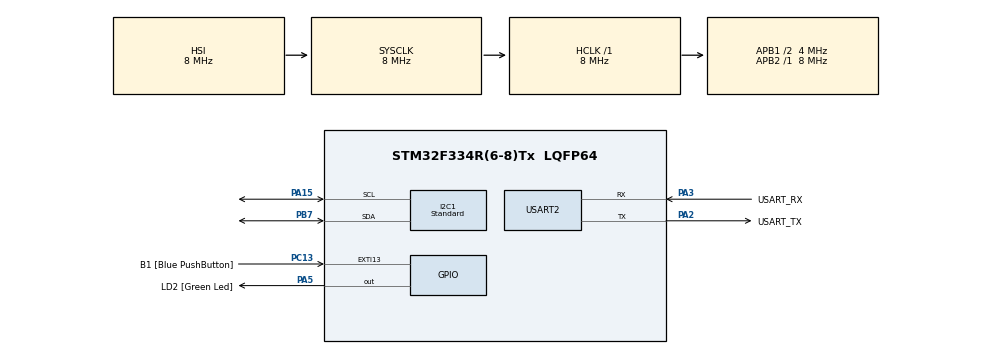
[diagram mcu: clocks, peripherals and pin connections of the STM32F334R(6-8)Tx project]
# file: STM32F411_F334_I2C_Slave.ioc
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I2C1.I2C_Speed_Mode=I2C_Standard
I2C1.NoStretchMode=I2C_NOSTRETCH_DISABLE
I2C1.OwnAddress=15
I2C1.Speed=10
I2C1.Timing=0x200009FE
Mcu.Family=STM32F3
Mcu.Name=STM32F334R(6-8)Tx
Mcu.Package=LQFP64
NVIC.PriorityGroup=NVIC_PRIORITYGROUP_0
PA13.GPIO_Label=TMS
PA13.Mode=Serial_Wire
PA13.Signal=SYS_JTMS-SWDIO
PA14.GPIO_Label=TCK
PA14.Mode=Serial_Wire
PA14.Signal=SYS_JTCK-SWCLK
PA15.Mode=I2C
PA15.Signal=I2C1_SCL
PA2.GPIO_Label=USART_TX
PA2.Mode=Asynchronous
PA2.Signal=USART2_TX
PA3.GPIO_Label=USART_RX
PA3.Mode=Asynchronous
PA3.Signal=USART2_RX
PA5.GPIO_Label=LD2 [Green Led]
PA5.Signal=GPIO_Output
PB3.GPIO_Label=SWO
PB3.Signal=SYS_JTDO-TRACESWO
PB7.Mode=I2C
PB7.Signal=I2C1_SDA
PC13.GPIO_Label=B1 [Blue PushButton]
PC13.GPIO_ModeDefaultEXTI=GPIO_MODE_IT_FALLING
PC13.Signal=GPXTI13
PC14\ /\ OSC32_IN.Mode=LSE-External-Oscillator
PC14\ /\ OSC32_IN.Signal=RCC_OSC32_IN
PC15\ /\ OSC32_OUT.GPIO_Label=RCC_OSC32_OUT
PC15\ /\ OSC32_OUT.Mode=LSE-External-Oscillator
PC15\ /\ OSC32_OUT.Signal=RCC_OSC32_OUT
PF0\ /\ OSC_IN.Mode=HSE-External-Clock-Source
PF0\ /\ OSC_IN.Signal=RCC_OSC_IN
PF1\ /\ OSC_OUT.Signal=RCC_OSC_OUT
ProjectManager.HeapSize=0x200
ProjectManager.StackSize=0x400
ProjectManager.TargetToolchain=STM32CubeIDE
RCC.AHBFreq_Value=8000000
RCC.APB1CLKDivider=RCC_HCLK_DIV2
RCC.APB1Freq_Value=4000000
RCC.APB1TimFreq_Value=8000000
RCC.APB2Freq_Value=8000000
RCC.APB2TimFreq_Value=8000000
RCC.CortexFreq_Value=8000000
RCC.FLatency-AdvancedSettings=FLASH_LATENCY_0
RCC.HCLKFreq_Value=8000000
RCC.HSE_VALUE=8000000
RCC.HSI_VALUE=8000000
RCC.PLLMUL=RCC_PLL_MUL16
RCC.SYSCLKFreq_VALUE=8000000
USART2.VirtualMode-Asynchronous=VM_ASYNC
board=NUCLEO-F334R8

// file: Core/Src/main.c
/* USER CODE BEGIN Header */
/**
 ******************************************************************************
 * @file           : main.c
 * @brief          : Main program body
 ******************************************************************************
 * @attention
 *
 * <h2><center>&copy; Copyright (c) 2021 STMicroelectronics.
 * All rights reserved.</center></h2>
 *
 * This software component is licensed by ST under BSD 3-Clause license,
 * the "License"; You may not use this file except in compliance with the
 * License. You may obtain a copy of the License at:
 *                        opensource.org/licenses/BSD-3-Clause
 *
 ******************************************************************************
 */
/*
 * PB7  - SDA - 9 from the bottom
 PA15 - SCL - 9 from the up
 */

/* USER CODE END Header */
#include "main.h"

/* USER CODE BEGIN Includes */
#include <stdio.h>
/* USER CODE END Includes */

/* USER CODE BEGIN PTD */
#define I2C_ADDRESS        0x0F
char uart_buf[100];
uint8_t buffer[7];

int uart_buf_len;

/* USER CODE END PTD */

I2C_HandleTypeDef hi2c1;

UART_HandleTypeDef huart2;

void SystemClock_Config(void);
static void MX_GPIO_Init(void);
static void MX_USART2_UART_Init(void);
static void MX_I2C1_Init(void);

/* USER CODE BEGIN PFP */
void CustomError_Handler(void);
/* USER CODE END PFP */

int main(void) {

	/* MCU Configuration--------------------------------------------------------*/

	/* Reset of all peripherals, Initializes the Flash interface and the Systick. */
	HAL_Init();

	/* Configure the system clock */
	SystemClock_Config();

	/* Initialize all configured peripherals */
	MX_GPIO_Init();
	MX_USART2_UART_Init();
	MX_I2C1_Init();

	/* Infinite loop */
	/* USER CODE BEGIN WHILE */

	while (1) {

		if (HAL_I2C_Slave_Receive(&hi2c1, (uint8_t*) buffer, (uint16_t) sizeof(buffer), 1000) != HAL_OK) {
			/* Transfer error in reception process */
			uint32_t errCode = HAL_I2C_GetError(&hi2c1);

			if (errCode != HAL_I2C_ERROR_AF) {
				CustomError_Handler();
			}
		}

		uart_buf_len = sprintf((char*) uart_buf, "%s\r\n", (char*) buffer);
		HAL_UART_Transmit(&huart2, (uint8_t*) uart_buf, (uint16_t) uart_buf_len, 100);

		if (HAL_I2C_Slave_Transmit(&hi2c1, (uint8_t*) buffer, (uint16_t) sizeof(buffer), 1000) != HAL_OK) {
			uint32_t errCode = HAL_I2C_GetError(&hi2c1);

			if (errCode != HAL_I2C_ERROR_AF) {
				CustomError_Handler();
			}

		}

		/* USER CODE END WHILE */

	}
}

void SystemClock_Config(void) {
	RCC_OscInitTypeDef RCC_OscInitStruct = { 0 };
	RCC_ClkInitTypeDef RCC_ClkInitStruct = { 0 };
	RCC_PeriphCLKInitTypeDef PeriphClkInit = { 0 };

	/** Initializes the RCC Oscillators according to the specified parameters
	 * in the RCC_OscInitTypeDef structure.
	 */
	RCC_OscInitStruct.OscillatorType = RCC_OSCILLATORTYPE_HSI;
	RCC_OscInitStruct.HSIState = RCC_HSI_ON;
	RCC_OscInitStruct.HSICalibrationValue = RCC_HSICALIBRATION_DEFAULT;
	RCC_OscInitStruct.PLL.PLLState = RCC_PLL_NONE;
	if (HAL_RCC_OscConfig(&RCC_OscInitStruct) != HAL_OK) {
		Error_Handler();
	}
	/** Initializes the CPU, AHB and APB buses clocks
	 */
	RCC_ClkInitStruct.ClockType = RCC_CLOCKTYPE_HCLK | RCC_CLOCKTYPE_SYSCLK | RCC_CLOCKTYPE_PCLK1 | RCC_CLOCKTYPE_PCLK2;
	RCC_ClkInitStruct.SYSCLKSource = RCC_SYSCLKSOURCE_HSI;
	RCC_ClkInitStruct.AHBCLKDivider = RCC_SYSCLK_DIV1;
	RCC_ClkInitStruct.APB1CLKDivider = RCC_HCLK_DIV2;
	RCC_ClkInitStruct.APB2CLKDivider = RCC_HCLK_DIV1;

	if (HAL_RCC_ClockConfig(&RCC_ClkInitStruct, FLASH_LATENCY_0) != HAL_OK) {
		Error_Handler();
	}
	PeriphClkInit.PeriphClockSelection = RCC_PERIPHCLK_I2C1;
	PeriphClkInit.I2c1ClockSelection = RCC_I2C1CLKSOURCE_HSI;
	if (HAL_RCCEx_PeriphCLKConfig(&PeriphClkInit) != HAL_OK) {
		Error_Handler();
	}
}

static void MX_I2C1_Init(void) {

	hi2c1.Instance = I2C1;
	hi2c1.Init.Timing = 0x200009FE;
	hi2c1.Init.OwnAddress1 = I2C_ADDRESS;
	hi2c1.Init.AddressingMode = I2C_ADDRESSINGMODE_7BIT;
	hi2c1.Init.DualAddressMode = I2C_DUALADDRESS_DISABLE;
	hi2c1.Init.OwnAddress2 = I2C_ADDRESS;
	hi2c1.Init.OwnAddress2Masks = I2C_OA2_NOMASK;
	hi2c1.Init.GeneralCallMode = I2C_GENERALCALL_DISABLE;
	hi2c1.Init.NoStretchMode = I2C_NOSTRETCH_DISABLE;
	if (HAL_I2C_Init(&hi2c1) != HAL_OK) {
		Error_Handler();
	}
	/** Configure Analogue filter
	 */
	if (HAL_I2CEx_ConfigAnalogFilter(&hi2c1, I2C_ANALOGFILTER_ENABLE) != HAL_OK) {
		Error_Handler();
	}
	/** Configure Digital filter
	 */
	if (HAL_I2CEx_ConfigDigitalFilter(&hi2c1, 0) != HAL_OK) {
		Error_Handler();
	}

}

static void MX_USART2_UART_Init(void) {

	huart2.Instance = USART2;
	huart2.Init.BaudRate = 38400;
	huart2.Init.WordLength = UART_WORDLENGTH_8B;
	huart2.Init.StopBits = UART_STOPBITS_1;
	huart2.Init.Parity = UART_PARITY_NONE;
	huart2.Init.Mode = UART_MODE_TX_RX;
	huart2.Init.HwFlowCtl = UART_HWCONTROL_NONE;
	huart2.Init.OverSampling = UART_OVERSAMPLING_16;
	huart2.Init.OneBitSampling = UART_ONE_BIT_SAMPLE_DISABLE;
	huart2.AdvancedInit.AdvFeatureInit = UART_ADVFEATURE_NO_INIT;
	if (HAL_UART_Init(&huart2) != HAL_OK) {
		Error_Handler();
	}

}

static void MX_GPIO_Init(void) {
	GPIO_InitTypeDef GPIO_InitStruct = { 0 };

	/* GPIO Ports Clock Enable */
	__HAL_RCC_GPIOC_CLK_ENABLE();
	__HAL_RCC_GPIOF_CLK_ENABLE();
	__HAL_RCC_GPIOA_CLK_ENABLE();
	__HAL_RCC_GPIOB_CLK_ENABLE();

	/*Configure GPIO pin Output Level */
	HAL_GPIO_WritePin(LD2_GPIO_Port, LD2_Pin, GPIO_PIN_RESET);

	/*Configure GPIO pin : B1_Pin */
	GPIO_InitStruct.Pin = B1_Pin;
	GPIO_InitStruct.Mode = GPIO_MODE_IT_FALLING;
	GPIO_InitStruct.Pull = GPIO_NOPULL;
	HAL_GPIO_Init(B1_GPIO_Port, &GPIO_InitStruct);

	/*Configure GPIO pin : LD2_Pin */
	GPIO_InitStruct.Pin = LD2_Pin;
	GPIO_InitStruct.Mode = GPIO_MODE_OUTPUT_PP;
	GPIO_InitStruct.Pull = GPIO_NOPULL;
	GPIO_InitStruct.Speed = GPIO_SPEED_FREQ_LOW;
	HAL_GPIO_Init(LD2_GPIO_Port, &GPIO_InitStruct);

}

/* USER CODE BEGIN 4 */

void CustomError_Handler(void) {
	printf("An Error occured \r\n");
}

/* USER CODE END 4 */

void Error_Handler(void) {
	__disable_irq();
	while (1) {
	}
}

/************************ (C) COPYRIGHT STMicroelectronics *****END OF FILE****/
